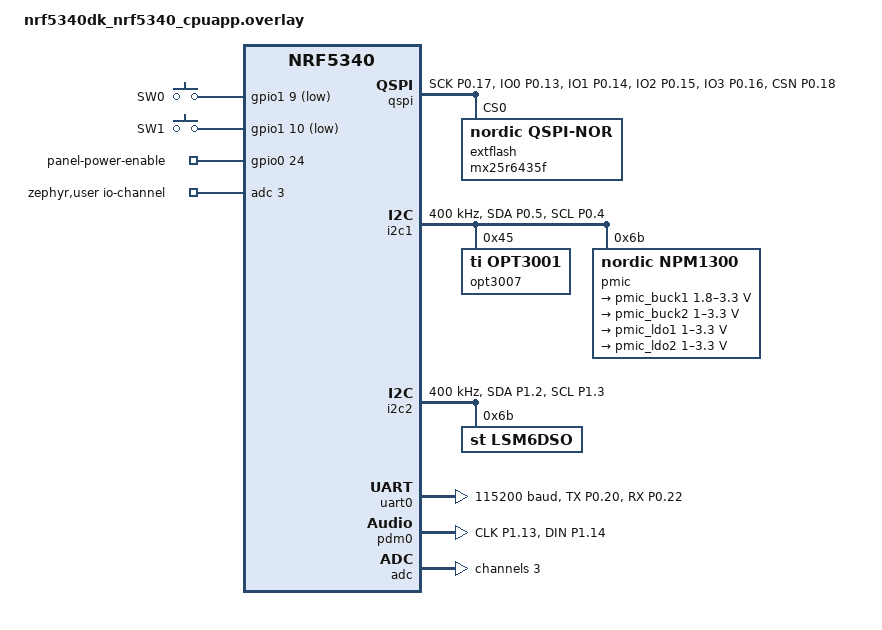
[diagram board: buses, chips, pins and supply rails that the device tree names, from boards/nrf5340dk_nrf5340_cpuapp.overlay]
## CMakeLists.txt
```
# SPDX-License-Identifier: Apache-2.0
#
# Even Realities G1 application core firmware (reconstruction of v1.66).
#
#   west build -b nrf5340dk_nrf5340_cpuapp   MCUboot, this image and the network core
#                                            image (net_core/), packaged in
#                                            build/zephyr/dfu_application.zip

cmake_minimum_required(VERSION 3.20.0)

# Module glue that adds net_core/ as the network core child image
# (cmake/modules/mcuboot/CMakeLists.txt).
list(APPEND MODULE_EXT_ROOT ${CMAKE_CURRENT_SOURCE_DIR}/cmake)

find_package(Zephyr REQUIRED HINTS $ENV{ZEPHYR_BASE})

set(REQIURED_NCS_VERSION 2.6.0)
set(_ncs_found "${NCS_VERSION_MAJOR}.${NCS_VERSION_MINOR}.${NCS_VERSION_PATCH}")
if(NOT _ncs_found VERSION_EQUAL REQIURED_NCS_VERSION)
  message(FATAL_ERROR "nRF Connect SDK ${REQIURED_NCS_VERSION} required, found ${_ncs_found} (${NRF_DIR})")
endif()

project(ar_glasses)

target_include_directories(app PRIVATE src/include)

# struct ncs_mem at 0x2007fc00 (shared with bootloader / net core)
zephyr_linker_sources(SECTIONS linker/ncs_mem.ld)

add_subdirectory(src)

# The NCS ANCS client accepts notification attributes of at most 32 bytes. This fix raises the limit
# to 256 bytes so larger messages can be set. It is force-included in front of the SDK source that
# checks it so the default value is overriden.
set(G1_ANCS_CLIENT_SRC ${ZEPHYR_NRF_MODULE_DIR}/subsys/bluetooth/services/ancs_client.c)
if(NOT EXISTS ${G1_ANCS_CLIENT_SRC})
  message(FATAL_ERROR "NCS ANCS client source not found: cannot raise its attribute limit")
endif()
set_property(SOURCE ${G1_ANCS_CLIENT_SRC} TARGET_DIRECTORY zephyr APPEND PROPERTY
             COMPILE_OPTIONS -include ${CMAKE_CURRENT_SOURCE_DIR}/src/ble/ancs_attr_max.h)

# Set BLE connection security to L2. 
zephyr_ld_options(-Wl,--wrap=bt_conn_add_le -Wl,--wrap=bt_conn_set_security)

# Build identification in the boot log and the "#t" debug command: configure time and
# the git commit of this tree.
string(TIMESTAMP G1_BUILD_TIME "%Y-%m-%d %H:%M:%S")
execute_process(COMMAND git rev-parse --short=8 HEAD
                WORKING_DIRECTORY ${CMAKE_CURRENT_SOURCE_DIR}
                OUTPUT_VARIABLE G1_GIT_COMMIT OUTPUT_STRIP_TRAILING_WHITESPACE ERROR_QUIET)
if(NOT G1_GIT_COMMIT)
  set(G1_GIT_COMMIT unknown)
endif()
set_property(SOURCE src/main.c src/ble/ble_proto.c TARGET_DIRECTORY app APPEND PROPERTY
             COMPILE_DEFINITIONS G1_BUILD_TIME="${G1_BUILD_TIME}" G1_GIT_COMMIT="${G1_GIT_COMMIT}")

# Once the DFU package is built, move it out of the build tree to
# ./dfu_application_<major>.<minor>.<patch>.zip, versioned from ./VERSION.
if(TARGET dfu_application_zip)
  set(G1_DFU_ZIP ${ZEPHYR_BINARY_DIR}/dfu_application.zip)
  set(G1_DFU_ZIP_OUT
      ${CMAKE_CURRENT_SOURCE_DIR}/dfu_application_${APP_VERSION_MAJOR}.${APP_VERSION_MINOR}.${APP_PATCHLEVEL}.zip)
  add_custom_target(dfu_application_versioned_zip ALL
    COMMAND ${CMAKE_COMMAND} -E copy ${G1_DFU_ZIP} ${G1_DFU_ZIP_OUT}
    COMMAND ${CMAKE_COMMAND} -E rm -f ${G1_DFU_ZIP}
    COMMENT "Moving dfu_application.zip to ${G1_DFU_ZIP_OUT}"
    VERBATIM)
  add_dependencies(dfu_application_versioned_zip dfu_application_zip)
endif()
```

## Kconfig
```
# The network core image is net_core/ (cmake/modules/mcuboot/CMakeLists.txt).  With
# network core DFU on and no RPMsg image selected, NCS adds an empty network core image
# to the same domain, which holds only one image.  NCS defines the option without a
# prompt, so it gets one here and prj.conf turns it off.
config NCS_SAMPLE_EMPTY_NET_CORE_CHILD_IMAGE
	bool "Add NCS's empty network core image"
	depends on SOC_NRF5340_CPUAPP && BOARD_ENABLE_CPUNET

source "Kconfig.zephyr"
```

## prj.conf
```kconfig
# Baseline configuration - being refined against the shipped v1.63 image.
CONFIG_SPEED_OPTIMIZATIONS=y

# C library / FP
CONFIG_NEWLIB_LIBC=y
CONFIG_NEWLIB_LIBC_NANO=y
CONFIG_NEWLIB_LIBC_FLOAT_PRINTF=y
CONFIG_FPU=y
CONFIG_FP_HARDABI=y
CONFIG_CBPRINTF_FP_SUPPORT=y

# Kernel
CONFIG_ASSERT=y
CONFIG_ASSERT_LEVEL=2
CONFIG_SPIN_VALIDATE=y
CONFIG_THREAD_CUSTOM_DATA=y
CONFIG_MAIN_STACK_SIZE=16384
CONFIG_EVENTS=y
# _system_heap (.data 0x20003978): init_bytes 0x10000, kheap buffer 0x20032868..0x20042868 (r2_kcfg)
CONFIG_HEAP_MEM_POOL_SIZE=65536
CONFIG_RING_BUFFER=y
CONFIG_REBOOT=y
CONFIG_HWINFO=y
CONFIG_POSIX_API=y
CONFIG_PM_DEVICE=y

# Logging / console
CONFIG_LOG=y
CONFIG_PRINTK=y

# Buses and drivers
CONFIG_GPIO=y
CONFIG_I2C=y
CONFIG_SPI=y
CONFIG_ADC=y
CONFIG_SENSOR=y
CONFIG_WATCHDOG=y
CONFIG_NRFX_SPIM3=y
CONFIG_NRFX_SPIM4=y
CONFIG_NRFX_PDM=y
CONFIG_AUDIO=y
CONFIG_AUDIO_DMIC=y
CONFIG_MFD_NPM1300=y
CONFIG_GPIO_NPM1300=y
CONFIG_WDT_NPM1300=y
CONFIG_REGULATOR=y
CONFIG_REGULATOR_NPM1300=y
CONFIG_NPM1300_CHARGER=y
CONFIG_OPT3001=y
CONFIG_NRF_FUEL_GAUGE=y

# Storage
CONFIG_FLASH=y
CONFIG_FLASH_MAP=y
CONFIG_NORDIC_QSPI_NOR=y
CONFIG_NVS=y
CONFIG_SETTINGS=y
CONFIG_SETTINGS_NVS=y

# Bluetooth
CONFIG_BT=y
CONFIG_BT_PERIPHERAL=y
CONFIG_BT_GATT_CLIENT=y
CONFIG_BT_GATT_DM=y
CONFIG_BT_GATT_DYNAMIC_DB=y
CONFIG_BT_SMP=y
CONFIG_BT_BONDABLE=y
CONFIG_BT_SETTINGS=y
CONFIG_BT_ANCS_CLIENT=y
CONFIG_BT_MAX_PAIRED=2
CONFIG_BT_L2CAP_DYNAMIC_CHANNEL=y
CONFIG_BT_CONN_TX_MAX=10
# prep_pool buf_count 2 (.data 0x20003dbc); att.c reassembled_data size MIN(512, 2*498) = 0x200 (r2_kcfg)
CONFIG_BT_ATT_PREPARE_COUNT=2
CONFIG_BT_LONG_WQ=y

# IPC with the network core
CONFIG_IPC_SERVICE=y
CONFIG_MBOX=y
# The network core needs RTC synchronization when it starts.
# Set up the app side before the network core is started.
CONFIG_NRF53_SYNC_RTC_INIT_PRIORITY=45

# Crypto
CONFIG_TINYCRYPT=y
CONFIG_TINYCRYPT_AES=y
CONFIG_TINYCRYPT_AES_CMAC=y
CONFIG_TINYCRYPT_SHA256=y
CONFIG_TINYCRYPT_SHA256_HMAC=y
CONFIG_TINYCRYPT_SHA256_HMAC_PRNG=y

# Audio codec
CONFIG_LIBLC3=y

# DFU over BLE (SMP)
CONFIG_BOOTLOADER_MCUBOOT=y
CONFIG_MCUMGR=y
CONFIG_ZCBOR=y
CONFIG_STREAM_FLASH=y
CONFIG_IMG_MANAGER=y
CONFIG_MCUMGR_GRP_IMG=y
CONFIG_MCUMGR_GRP_OS=y
CONFIG_MCUMGR_TRANSPORT_BT=y
CONFIG_MCUMGR_TRANSPORT_BT_REASSEMBLY=y
CONFIG_MCUMGR_TRANSPORT_WORKQUEUE_STACK_SIZE=2048
CONFIG_MCUMGR_TRANSPORT_WORKQUEUE_THREAD_PRIO=3
CONFIG_MCUMGR_TRANSPORT_NETBUF_SIZE=2475
CONFIG_IMG_ERASE_PROGRESSIVELY=y
CONFIG_UPDATEABLE_IMAGE_NUMBER=2
CONFIG_NRF53_UPGRADE_NETWORK_CORE=y
CONFIG_PM_EXTERNAL_FLASH_MCUBOOT_SECONDARY=y
# the network core image is net_core/ (cmake/modules/mcuboot/CMakeLists.txt), no NCS sample
CONFIG_NCS_INCLUDE_RPMSG_CHILD_IMAGE=n
CONFIG_NCS_SAMPLE_EMPTY_NET_CORE_CHILD_IMAGE=n

# ---- Kconfig tuning against the v1.63 image  ----
# OpenAMP: app core is VIRTIO driver (host) only (rpmsg_virtio_*, virtqueue_*)
CONFIG_OPENAMP_SLAVE=n
# zcbor: ZCBOR_CHECK_ERROR()/zcbor_error() calls in every encode/decode fn
CONFIG_ZCBOR_STOP_ON_ERROR=y
# BT: L2CAP SDU RX MTU 0x1f0 (496) => ACL RX 502; ATT MTU 0x1f2 (498)
CONFIG_BT_BUF_ACL_RX_SIZE=502
CONFIG_BT_BUF_ACL_TX_SIZE=502
CONFIG_BT_L2CAP_TX_MTU=498
# BT: le_phy_update_complete / le_data_len_change store + notify
CONFIG_BT_USER_PHY_UPDATE=y
CONFIG_BT_USER_DATA_LEN_UPDATE=y
# UARTE: uarte_nrfx_data has async ptr at +0xc (no int_driven); poll_in/poll_out async paths
CONFIG_UART_ASYNC_API=y
# uart_nrfx_uarte_driver_api is 52 B (two trailing NULL line_ctrl_set/get slots)
CONFIG_UART_LINE_CTRL=y
# k_sys_work_q_init: stack 0x1000
CONFIG_SYSTEM_WORKQUEUE_STACK_SIZE=4096
# smp_bt_setup: two k_work_init_delayable (conn_param_on_pref_restore, le_conn_param_req)
CONFIG_MCUMGR_TRANSPORT_BT_CONN_PARAM_CONTROL=y
# commit_settings/set_setting: "name" setting + bt_set_name("Even G1"), name[28+1]
CONFIG_BT_DEVICE_NAME_DYNAMIC=y
CONFIG_BT_DEVICE_NAME="Even G1"
# bt_buf_get_rx: single hci_rx_pool (no evt/acl_in split)
CONFIG_BT_HCI_ACL_FLOW_CONTROL=n
# update_keys_check: unauthenticated keys may be overwritten
CONFIG_BT_SMP_ALLOW_UNAUTH_OVERWRITE=y
# qspi_nor_write: on-stack bounce buffer 16 bytes
CONFIG_NORDIC_QSPI_NOR_STACK_WRITE_BUFFER_SIZE=16
# boot_swap_type_multi: BOOT_LOG_INF compiled out, "mcuboot_util" module still registered
CONFIG_MCUBOOT_UTIL_LOG_LEVEL_WRN=y
# SDK modules present in the image (bt_gattp_*, bt_nus_send, os_mgmt handlers, sys_poweroff)
CONFIG_BT_GATTP=y
CONFIG_BT_NUS=y
CONFIG_MCUMGR_GRP_OS_MCUMGR_PARAMS=y
CONFIG_MCUMGR_GRP_OS_BOOTLOADER_INFO=y
CONFIG_POWEROFF=y
# bt_ancs_client: notif attr list at +0x1060 => cp_data[4096]
CONFIG_BT_ANCS_CLIENT_CP_BUFF_SIZE=4096
# bt_le_adv_start: limited-adv timeout K_SECONDS(120) = 0x3c0000 ticks
CONFIG_BT_LIM_ADV_TIMEOUT=120
# z_impl_sys_rand32_get from rand32_entropy_device.c on crypto@50844000 (entropy_cc3xx)
CONFIG_ENTROPY_GENERATOR=y
CONFIG_ENTROPY_DEVICE_RANDOM_GENERATOR=y

# cJSON (NCS lib) used by the whitelist/BLE protocol code (parse_string, cJSON_* in the image)
CONFIG_CJSON_LIB=y

# CAF (integration): app_event_manager, module_state_event (main.c reports
# MODULE_STATE_READY, PTR "main" in module_id_list) and the CAF power manager
# (power_manager_app_event_handler, power_down/wake_up events) are in the image.
CONFIG_CAF=y
CONFIG_CAF_POWER_MANAGER=y
# power_down: interval counter compared with 3 (TIMEOUT 3 s / 1 s); system_off only logs
# "System suspended" (STAY_ON); error timeout K_SECONDS(30) = default
CONFIG_CAF_POWER_MANAGER_STAY_ON=y
CONFIG_CAF_POWER_MANAGER_TIMEOUT=3
# zephyr_basic_mgmt_init / storage_erase_handler / zephyr_basic_group_translate_error_code in the image
CONFIG_MCUMGR_GRP_ZBASIC=y
CONFIG_MCUMGR_GRP_ZBASIC_STORAGE_ERASE=y

# ---- Kconfig round 2 (r2_kcfg, evidence from target bytes) ----
# vprintk (0x4e46c) calls z_cbvprintf_impl(char_out, ...) directly; no z_log_vprintk /
# z_impl_z_log_msg_runtime_vcreate in the image
CONFIG_LOG_PRINTK=n
# acl_tx_pool buf_count 10 (.data 0x20003c1c); req_slab num_blocks 10 (= L2CAP_TX_BUF_COUNT default)
CONFIG_BT_BUF_ACL_TX_COUNT=10
# hci_cmd_pool data_size 0x72 = MAX(BT_BUF_EVT_RX_SIZE, BT_BUF_CMD_TX_SIZE) = 1+2+111
# (CONFIG_BT_BUF_CMD_TX_SIZE=110 would give the same bytes: both only size this pool here)
CONFIG_BT_BUF_EVT_RX_SIZE=111
# smp_bt_attrs (.data 0x200028e4): characteristic perms READ|WRITE (0x03 / 0x02), not *_AUTHEN
CONFIG_MCUMGR_TRANSPORT_BT_AUTHEN=n
# log_const_area (0x8b820..0x8ba50, 70 entries) also registers NRF_RPC, NRF_RPC_CBOR, NRF_RPC_OS,
# nrf_rpc_ipc, dk_buttons_and_leds, NRFX_SPIS and NRFX_UARTE (their code is all gc'd).  nrf_rpc +
# DK library are what the ESB/MPSL timeslot demo app enables (referenced_examples/esb_ble_mpsl_timeslot).
CONFIG_NRF_RPC=y
CONFIG_NRF_RPC_CBOR=y
CONFIG_DK_LIBRARY=y
# instance numbers are not visible in the image (only the gc'd nrfx_spis.c / nrfx_uarte.c log entries)
CONFIG_NRFX_SPIS2=y
CONFIG_NRFX_UARTE1=y
# log_const levels: qspi_nor 2, flash_nrf 2 (both CONFIG_FLASH_LOG_LEVEL)
CONFIG_FLASH_LOG_LEVEL_WRN=y
# mpu_regions SRAM_0 = PM sram_primary 0x20002000..0x2007e000 (r_limit 0x2007dfe0), i.e. the
# rpmsg_nrf53_sram PM partition is 8 KB (the IPC shm itself stays at DT sram0_shared 0x20070000)
CONFIG_RPMSG_NRF53_SRAM_SIZE=0x2000
# bt_get_appearance (0x84744) returns 0x341 (833)
CONFIG_BT_DEVICE_APPEARANCE=833
```

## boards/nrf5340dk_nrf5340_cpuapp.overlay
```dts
#include <dt-bindings/regulator/npm1300.h>
#include <zephyr/dt-bindings/adc/adc.h>
#include <zephyr/dt-bindings/adc/nrf-adc.h>

/ {
	chosen {
		nordic,pm-ext-flash = &extflash;
	};
};

/*
 * G1 app-core board overlay — nrf5340dk_nrf5340_cpuapp
 *
 * nRF5340 SERIAL mapping:
 *   UARTE0=uart@8000  TWIM1=i2c@9000  SPIM3/SPIM4=projector(runtime pins)
 *   TWIM2=i2c@b000    PDM0=pdm@26000  QSPI=mx25r6435f
 * There is no PWM node (brightness is set over projector SPI).
 */

&pinctrl {
	/* ---- QSPI (external NOR flash) ---- */
	qspi_default: qspi_default {
		group1 {
			psels = <NRF_PSEL(QSPI_SCK, 0, 17)>,
				<NRF_PSEL(QSPI_IO0, 0, 13)>,
				<NRF_PSEL(QSPI_IO1, 0, 14)>,
				<NRF_PSEL(QSPI_IO2, 0, 15)>,
				<NRF_PSEL(QSPI_IO3, 0, 16)>,
				<NRF_PSEL(QSPI_CSN, 0, 18)>;
			nordic,drive-mode = <NRF_DRIVE_H0H1>;
		};
	};
	/* qspi_sleep: the DK default (CSN in its own pull-up group2) */

	/* ---- I2C1 (i2c@9000): OPT3007 ALS + PMIC ---- */
	i2c1_default: i2c1_default {
		group1 {
			psels = <NRF_PSEL(TWIM_SDA, 0, 5)>,
				<NRF_PSEL(TWIM_SCL, 0, 4)>;
		};
	};
	i2c1_sleep: i2c1_sleep {
		group1 {
			psels = <NRF_PSEL(TWIM_SDA, 0, 5)>,
				<NRF_PSEL(TWIM_SCL, 0, 4)>;
			low-power-enable;
		};
	};

	/* ---- I2C3 (i2c@b000): LSM6DSO IMU ---- */
	i2c2_default: i2c2_default {
		group1 {
			psels = <NRF_PSEL(TWIM_SDA, 1, 2)>,
				<NRF_PSEL(TWIM_SCL, 1, 3)>;
		};
	};
	i2c2_sleep: i2c2_sleep {
		group1 {
			psels = <NRF_PSEL(TWIM_SDA, 1, 2)>,
				<NRF_PSEL(TWIM_SCL, 1, 3)>;
			low-power-enable;
		};
	};

	/* ---- UARTE0 (uart@8000): console/debug ---- */
	uart0_default: uart0_default {
		group1 {
			psels = <NRF_PSEL(UART_TX, 0, 20)>,
				<NRF_PSEL_DISCONNECTED(UART_RTS)>;
		};
		group2 {
			psels = <NRF_PSEL(UART_RX, 0, 22)>,
				<NRF_PSEL_DISCONNECTED(UART_CTS)>;
			bias-pull-up;
		};
	};
	uart0_sleep: uart0_sleep {
		group1 {
			psels = <NRF_PSEL(UART_TX, 0, 20)>,
				<NRF_PSEL(UART_RX, 0, 22)>;
			low-power-enable;
		};
	};

	/* ---- PDM0 (pdm@26000): microphone ---- */
	pdm0_default: pdm0_default {
		group1 {
			psels = <NRF_PSEL(PDM_CLK, 1, 13)>,
				<NRF_PSEL(PDM_DIN, 1, 14)>;
		};
	};

};

/* ================= peripheral nodes ================= */

&qspi {
	status = "okay";
	pinctrl-0 = <&qspi_default>;
	pinctrl-1 = <&qspi_sleep>;
	pinctrl-names = "default", "sleep";

	/*
	 * External serial NOR: a Macronix MX25U256-family (256 Mbit / 32 MiB)
	 * device.  The node keeps the DK's name "mx25r6435f@0", which is the
	 * Zephyr device name; the extflash label names it neutrally.
	 */
	extflash: mx25r6435f@0 {
		compatible = "nordic,qspi-nor";
		reg = <0>;
		writeoc = "pp4io";
		readoc = "read4io";
		/* the 96 MHz base clock undivided: HFCLK192M / 1, SCK divider 1 */
		sck-frequency = <96000000>;
		jedec-id = [c2 25 39];		/* MX25U256 */
		size = <268435456>;		/* 32 MiB */
		has-dpd;
	};
};

&i2c1 { /* i2c@9000 */
	compatible = "nordic,nrf-twim";
	status = "okay";
	pinctrl-0 = <&i2c1_default>;
	pinctrl-1 = <&i2c1_sleep>;
	pinctrl-names = "default", "sleep";
	clock-frequency = <I2C_BITRATE_FAST>;

	opt3007: opt3001@45 {
		compatible = "ti,opt3001";
		reg = <0x45>;
	};

	pmic: pmic@6b {
		compatible = "nordic,npm1300";
		reg = <0x6b>;

		pmic_gpio: gpio-controller {
			compatible = "nordic,npm1300-gpio";
			gpio-controller;
			#gpio-cells = <2>;
			ngpios = <3>;
		};

		pmic_regulators: regulators {
			compatible = "nordic,npm1300-regulator";

			pmic_buck1: BUCK1 {
				regulator-min-microvolt = <1800000>;
				regulator-max-microvolt = <3300000>;
			};
			pmic_buck2: BUCK2 {
				regulator-min-microvolt = <1000000>;
				regulator-max-microvolt = <3300000>;
				regulator-init-microvolt = <1200000>;
			};
			pmic_ldo1: LDO1 {
				regulator-min-microvolt = <1000000>;
				regulator-max-microvolt = <3300000>;
				regulator-initial-mode = <NPM1300_LDSW_MODE_LDSW>;
			};
			pmic_ldo2: LDO2 {
				regulator-min-microvolt = <1000000>;
				regulator-max-microvolt = <3300000>;
				regulator-initial-mode = <NPM1300_LDSW_MODE_LDSW>;
			};
		};

		pmic_wdt: watchdog {
			compatible = "nordic,npm1300-wdt";
			/* PMIC GPIO2 is the watchdog reset output */
			reset-gpios = <&pmic_gpio 2 GPIO_ACTIVE_LOW>;
		};

		pmic_charger: charger {
			compatible = "nordic,npm1300-charger";
			term-microvolt = <4400000>;
			term-warm-microvolt = <4100000>;
			current-microamp = <40000>;
			dischg-limit-microamp = <1000000>;
			vbus-limit-microamp = <500000>;
			thermistor-ohms = <100000>;
			thermistor-beta = <4250>;
			charging-enable;
		};
	};
};

&i2c2 { /* i2c@b000 */
	compatible = "nordic,nrf-twim";
	status = "okay";
	pinctrl-0 = <&i2c2_default>;
	pinctrl-1 = <&i2c2_sleep>;
	pinctrl-names = "default", "sleep";
	clock-frequency = <I2C_BITRATE_FAST>;

	lsm6dso: lsm6dso@6b {
		compatible = "st,lsm6dso";
		reg = <0x6b>;
		/* both sensors use the driver's low/normal-power mode; ODR/range
		 * stay at their power-up defaults */
		accel-pm = <1>;
		gyro-pm = <1>;
		status = "okay";
	};
};

&uart0 { /* uart@8000 */
	status = "okay";
	current-speed = <115200>;
	pinctrl-0 = <&uart0_default>;
	pinctrl-1 = <&uart0_sleep>;
	pinctrl-names = "default", "sleep";
	/* hw-flow-control omitted: RTS/CTS not routed */
};

&pdm0 { /* pdm@26000 */
	status = "okay";
	pinctrl-0 = <&pdm0_default>;
	pinctrl-names = "default";
};

/* Projector buses are configured at runtime through nrfx; SPIM3/SPIM4 have no
 * Zephyr SPI device. */
&spi4 { status = "disabled"; };
&spi3 { status = "disabled"; };

/* ================= GPIO control lines / buttons ================= */
/ {
	/* the DK push buttons are not on the glasses */
	/delete-node/ buttons;
	aliases {
		/delete-property/ sw0;
		/delete-property/ sw1;
		/delete-property/ sw2;
		/delete-property/ sw3;
		/delete-property/ mcuboot-button0;
	};

	gpio_keys {
		compatible = "gpio-keys";
		sw0: sw0 {
			gpios = <&gpio1 9 (GPIO_ACTIVE_LOW | GPIO_PULL_UP)>;
			label = "SW0";
		};
		sw1: sw1 {
			gpios = <&gpio1 10 (GPIO_ACTIVE_LOW | GPIO_PULL_UP)>;
			label = "SW1";
		};
	};

	panel_ctrl {
		compatible = "gpio-leds";
		panel_pwr: panel_pwr {
			gpios = <&gpio0 24 GPIO_ACTIVE_HIGH>;
			label = "panel-power-enable";
		};
	};
};

/* audio clock: 12.288 MHz */
&clock {
	hfclkaudio-frequency = <12288000>;
};

&pdm0 {
	queue-size = <10>;
	clock-source = "PCLK32M";
};

/* NFC field voltage, read by nfc_wlc.c through io-channels */
/ {
	zephyr,user {
		io-channels = <&adc 3>;
	};
};

&adc {
	#address-cells = <1>;
	#size-cells = <0>;
	status = "okay";

	channel@3 {
		reg = <3>;
		zephyr,gain = "ADC_GAIN_1_6";
		zephyr,reference = "ADC_REF_INTERNAL";
		zephyr,acquisition-time = <ADC_ACQ_TIME_DEFAULT>;
		zephyr,input-positive = <NRF_SAADC_AIN3>;
		zephyr,resolution = <12>;
	};
};

/* only P1.01 and P1.00 go to the network core; the DK default also forwards
 * P0.11/P0.10 */
&gpio_fwd {
	uart {
		gpios = <&gpio1 1 0>, <&gpio1 0 0>;
	};
};

/* CONFIG_NRFX_SPIS2 needs an SPIS-compatible node (it stays disabled) */
&spi2 {
	compatible = "nordic,nrf-spis";
	status = "disabled";
};
```

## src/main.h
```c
/*
 * Boot and global state (main.c): the GlassesState instance, the device role.
 */
#ifndef G1_MAIN_H_
#define G1_MAIN_H_

#include <stdint.h>
#include "system/glasses_state.h"

extern struct GlassesState *GLOBAL_STATE;

int getDeviceRole(void);
uint8_t is_master(void);

#endif /* G1_MAIN_H_ */
```
